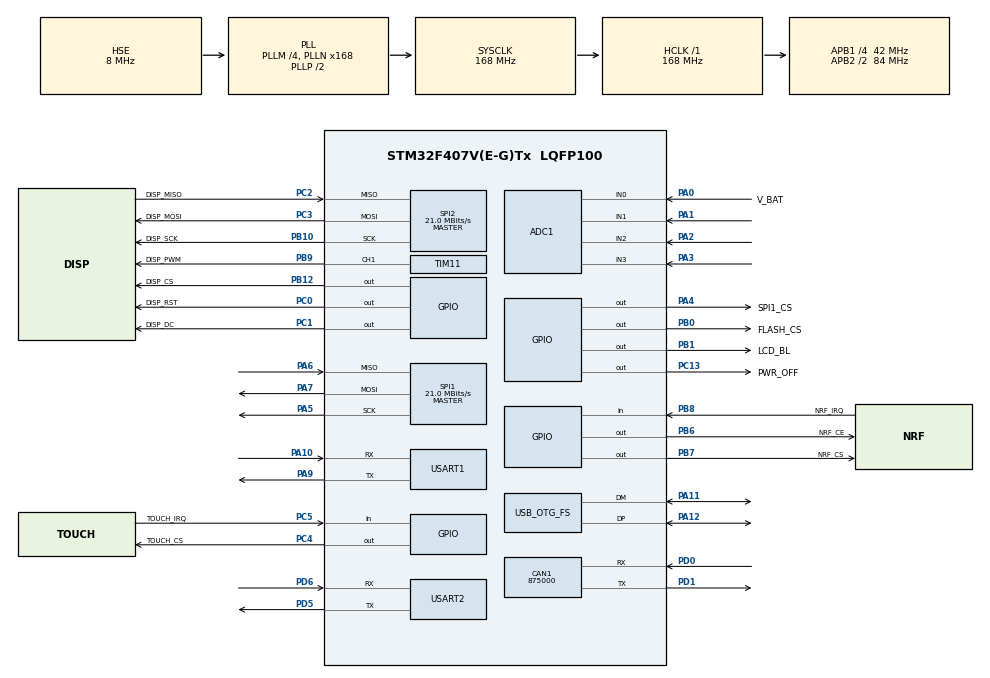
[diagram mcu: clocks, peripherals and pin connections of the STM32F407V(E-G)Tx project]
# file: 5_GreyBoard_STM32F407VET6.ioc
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ADC1.Channel-0\#ChannelRegularConversion=ADC_CHANNEL_0
ADC1.Channel-1\#ChannelRegularConversion=ADC_CHANNEL_1
ADC1.Channel-2\#ChannelRegularConversion=ADC_CHANNEL_2
ADC1.Channel-3\#ChannelRegularConversion=ADC_CHANNEL_3
ADC1.Channel-4\#ChannelRegularConversion=ADC_CHANNEL_TEMPSENSOR
ADC1.Channel-5\#ChannelRegularConversion=ADC_CHANNEL_VREFINT
ADC1.Channel-6\#ChannelRegularConversion=ADC_CHANNEL_VBAT
ADC1.ContinuousConvMode=ENABLE
ADC1.DMAContinuousRequests=ENABLE
ADC1.InjNumberOfConversion=0
ADC1.NbrOfConversion=7
ADC1.NbrOfConversionFlag=1
ADC1.Rank-0\#ChannelRegularConversion=1
ADC1.Rank-1\#ChannelRegularConversion=2
ADC1.Rank-2\#ChannelRegularConversion=3
ADC1.Rank-3\#ChannelRegularConversion=4
ADC1.Rank-4\#ChannelRegularConversion=5
ADC1.Rank-5\#ChannelRegularConversion=6
ADC1.Rank-6\#ChannelRegularConversion=7
ADC1.SamplingTime-0\#ChannelRegularConversion=ADC_SAMPLETIME_28CYCLES
ADC1.SamplingTime-1\#ChannelRegularConversion=ADC_SAMPLETIME_28CYCLES
ADC1.SamplingTime-2\#ChannelRegularConversion=ADC_SAMPLETIME_28CYCLES
ADC1.SamplingTime-3\#ChannelRegularConversion=ADC_SAMPLETIME_28CYCLES
ADC1.SamplingTime-4\#ChannelRegularConversion=ADC_SAMPLETIME_28CYCLES
ADC1.SamplingTime-5\#ChannelRegularConversion=ADC_SAMPLETIME_56CYCLES
ADC1.SamplingTime-6\#ChannelRegularConversion=ADC_SAMPLETIME_28CYCLES
ADC1.ScanConvMode=ENABLE
ADC1.master=1
CAN1.CalculateBaudRate=875000
CAN1.CalculateTimeBit=1142
CAN1.CalculateTimeQuantum=380.95238095238096
Dma.ADC1.0.Direction=DMA_PERIPH_TO_MEMORY
Dma.ADC1.0.FIFOMode=DMA_FIFOMODE_DISABLE
Dma.ADC1.0.Instance=DMA2_Stream0
Dma.ADC1.0.MemDataAlignment=DMA_MDATAALIGN_HALFWORD
Dma.ADC1.0.MemInc=DMA_MINC_ENABLE
Dma.ADC1.0.Mode=DMA_NORMAL
Dma.ADC1.0.PeriphDataAlignment=DMA_PDATAALIGN_HALFWORD
Dma.ADC1.0.PeriphInc=DMA_PINC_DISABLE
Dma.ADC1.0.Priority=DMA_PRIORITY_LOW
Dma.Request0=ADC1
Dma.Request1=SPI2_TX
Dma.SPI2_TX.1.Direction=DMA_MEMORY_TO_PERIPH
Dma.SPI2_TX.1.FIFOMode=DMA_FIFOMODE_DISABLE
Dma.SPI2_TX.1.Instance=DMA1_Stream4
Dma.SPI2_TX.1.MemDataAlignment=DMA_MDATAALIGN_BYTE
Dma.SPI2_TX.1.MemInc=DMA_MINC_ENABLE
Dma.SPI2_TX.1.Mode=DMA_NORMAL
Dma.SPI2_TX.1.PeriphDataAlignment=DMA_PDATAALIGN_BYTE
Dma.SPI2_TX.1.PeriphInc=DMA_PINC_DISABLE
Dma.SPI2_TX.1.Priority=DMA_PRIORITY_LOW
Mcu.Family=STM32F4
Mcu.Name=STM32F407V(E-G)Tx
Mcu.Package=LQFP100
NVIC.ADC_IRQn=true\:4\:0\:true\:false\:true\:true\:true\:true
NVIC.DMA1_Stream4_IRQn=true\:3\:0\:true\:false\:true\:false\:true\:true
NVIC.DMA2_Stream0_IRQn=true\:2\:0\:true\:false\:true\:false\:true\:true
NVIC.PriorityGroup=NVIC_PRIORITYGROUP_4
NVIC.USART1_IRQn=true\:0\:0\:false\:false\:true\:true\:true\:true
PA0-WKUP.GPIO_Label=V_BAT
PA0-WKUP.Signal=ADCx_IN0
PA1.Signal=ADCx_IN1
PA10.Mode=Asynchronous
PA10.Signal=USART1_RX
PA11.Mode=Device_Only
PA11.Signal=USB_OTG_FS_DM
PA12.Mode=Device_Only
PA12.Signal=USB_OTG_FS_DP
PA13.Mode=Trace_Asynchronous_SW
PA13.Signal=SYS_JTMS-SWDIO
PA14.Mode=Trace_Asynchronous_SW
PA14.Signal=SYS_JTCK-SWCLK
PA2.Signal=ADCx_IN2
PA3.Signal=ADCx_IN3
PA4.GPIO_Label=SPI1_CS
PA4.Signal=GPIO_Output
PA5.Mode=Full_Duplex_Master
PA5.Signal=SPI1_SCK
PA6.Mode=Full_Duplex_Master
PA6.Signal=SPI1_MISO
PA7.Mode=Full_Duplex_Master
PA7.Signal=SPI1_MOSI
PA9.Mode=Asynchronous
PA9.Signal=USART1_TX
PB0.GPIO_Label=FLASH_CS
PB0.Signal=GPIO_Output
PB1.GPIO_Label=LCD_BL
PB1.Signal=GPIO_Output
PB10.GPIO_Label=DISP_SCK
PB10.Mode=Full_Duplex_Master
PB10.Signal=SPI2_SCK
PB12.GPIO_Label=DISP_CS
PB12.Signal=GPIO_Output
PB3.Mode=Trace_Asynchronous_SW
PB3.Signal=SYS_JTDO-SWO
PB6.GPIO_Label=NRF_CE
PB6.Signal=GPIO_Output
PB7.GPIO_Label=NRF_CS
PB7.Signal=GPIO_Output
PB8.GPIO_Label=NRF_IRQ
PB8.Signal=GPIO_Input
PB9.GPIO_Label=DISP_PWM
PB9.Signal=S_TIM11_CH1
PC0.GPIO_Label=DISP_RST
PC0.Signal=GPIO_Output
PC1.GPIO_Label=DISP_DC
PC1.Signal=GPIO_Output
PC13-ANTI_TAMP.GPIO_Label=PWR_OFF
PC13-ANTI_TAMP.Signal=GPIO_Output
PC14-OSC32_IN.Mode=LSE-External-Oscillator
PC14-OSC32_IN.Signal=RCC_OSC32_IN
PC15-OSC32_OUT.Mode=LSE-External-Oscillator
PC15-OSC32_OUT.Signal=RCC_OSC32_OUT
PC2.GPIO_Label=DISP_MISO
PC2.Mode=Full_Duplex_Master
PC2.Signal=SPI2_MISO
PC3.GPIO_Label=DISP_MOSI
PC3.Mode=Full_Duplex_Master
PC3.Signal=SPI2_MOSI
PC4.GPIO_Label=TOUCH_CS
PC4.Signal=GPIO_Output
PC5.GPIO_Label=TOUCH_IRQ
PC5.Signal=GPIO_Input
PD0.Mode=CAN_Activate
PD0.Signal=CAN1_RX
PD1.Mode=CAN_Activate
PD1.Signal=CAN1_TX
PD5.Mode=Asynchronous
PD5.Signal=USART2_TX
PD6.Mode=Asynchronous
PD6.Signal=USART2_RX
PH0-OSC_IN.Mode=HSE-External-Oscillator
PH0-OSC_IN.Signal=RCC_OSC_IN
PH1-OSC_OUT.Mode=HSE-External-Oscillator
PH1-OSC_OUT.Signal=RCC_OSC_OUT
ProjectManager.HeapSize=0x200
ProjectManager.StackSize=0x400
ProjectManager.TargetToolchain=STM32CubeIDE
RCC.48MHZClocksFreq_Value=48000000
RCC.AHBFreq_Value=168000000
RCC.APB1CLKDivider=RCC_HCLK_DIV4
RCC.APB1Freq_Value=42000000
RCC.APB1TimFreq_Value=84000000
RCC.APB2CLKDivider=RCC_HCLK_DIV2
RCC.APB2Freq_Value=84000000
RCC.APB2TimFreq_Value=168000000
RCC.CortexFreq_Value=168000000
RCC.HCLKFreq_Value=168000000
RCC.HSE_VALUE=8000000
RCC.HSI_VALUE=16000000
RCC.PLLM=4
RCC.PLLN=168
RCC.PLLQ=7
RCC.RCC_RTC_Clock_Source=RCC_RTCCLKSOURCE_LSE
RCC.RCC_RTC_Clock_SourceVirtual=RCC_RTCCLKSOURCE_LSE
RCC.SYSCLKFreq_VALUE=168000000
RCC.SYSCLKSource=RCC_SYSCLKSOURCE_PLLCLK
RCC.VCOOutputFreq_Value=336000000
SH.ADCx_IN0.0=ADC1_IN0,IN0
SH.ADCx_IN1.0=ADC1_IN1,IN1
SH.ADCx_IN2.0=ADC1_IN2,IN2
SH.ADCx_IN3.0=ADC1_IN3,IN3
SH.S_TIM11_CH1.0=TIM11_CH1,PWM Generation1 CH1
SPI1.BaudRatePrescaler=SPI_BAUDRATEPRESCALER_4
SPI1.CalculateBaudRate=21.0 MBits/s
SPI1.Direction=SPI_DIRECTION_2LINES
SPI1.Mode=SPI_MODE_MASTER
SPI1.VirtualType=VM_MASTER
SPI2.BaudRatePrescaler=SPI_BAUDRATEPRESCALER_2
SPI2.CalculateBaudRate=21.0 MBits/s
SPI2.DataSize=SPI_DATASIZE_8BIT
SPI2.Direction=SPI_DIRECTION_2LINES
SPI2.Mode=SPI_MODE_MASTER
SPI2.VirtualType=VM_MASTER
TIM11.Channel=TIM_CHANNEL_1
TIM11.Period=5000
USART1.VirtualMode=VM_ASYNC
USART2.VirtualMode=VM_ASYNC
USB_OTG_FS.VirtualMode=Device_Only
VP_ADC1_TempSens_Input.Mode=IN-TempSens
VP_ADC1_Vbat_Input.Mode=IN-Vbat
VP_ADC1_Vref_Input.Mode=IN-Vrefint
VP_RTC_VS_RTC_Activate.Mode=RTC_Enabled
VP_TIM11_VS_ClockSourceINT.Mode=Enable_Timer
board=custom

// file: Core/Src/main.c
/* USER CODE BEGIN Header */
/**
  ******************************************************************************
  * @file           : main.c
  * @brief          : Main program body
  ******************************************************************************
  * @attention
  *
  * Copyright (c) 2025 STMicroelectronics.
  * All rights reserved.
  *
  * This software is licensed under terms that can be found in the LICENSE file
  * in the root directory of this software component.
  * If no LICENSE file comes with this software, it is provided AS-IS.
  *
  ******************************************************************************
  */
#define  AVER_PERIOD    30
/* USER CODE END Header */
#include "main.h"

/* USER CODE BEGIN Includes */
#include "ILI9488.h"
#include "bitmaps.h"
#include <stdio.h>
#include <stdlib.h>
#include <string.h>
#include "common.h"
#include "ringbuf.h"
#include "scheduler.h"
/* USER CODE END Includes */

/* USER CODE BEGIN PTD */
typedef union{
	uint16_t array[8];
	struct{
		uint16_t batlvl;
		uint16_t joy;
		uint16_t jox;
		uint16_t AN3;
		uint16_t tmpr;
		uint16_t vref;
		uint16_t vbat;
		uint16_t ANX;
	};
}ADCdat_t;

typedef struct
{
  int batlvl;
  int batlvl_prev;
  int jox;
  int jox_prev;
  int joy;
  int joy_prev;
  int tmpr;
  int tmpr_prev;
  int vref;
  int vref_prev;
}ADCaverdat_t;

typedef struct
{
  uint8_t joyx[128];
  uint8_t joyx_prev[128];
  uint8_t joyy[128];
  uint8_t joyy_prev[128];
  uint8_t Vbat[128];
  uint8_t Vbat_prev[128];
  uint8_t Vpowsup[128];
  uint8_t Vpowsup_prev[128];
  uint8_t Temper[128];
  uint8_t Temper_prev[128];
  uint8_t UART_string[1024];
  uint8_t UART_string_prev[1024];
  uint8_t Seconds[128];
  uint8_t Seconds_prev[128];
}DispDat_t;

/* USER CODE END PTD */

/* USER CODE BEGIN PD */
RINGBUF_t UartRXbuf;
uint8_t rx_buf[1024] = {0};
uint8_t temp_byte;
DispDat_t temp_str = {0};

ADCdat_t ADC_data;
uint8_t temp_byte;
ADCaverdat_t ADC_averdata;

uint32_t summ_counter = 0;
uint32_t adc_complete = 1;
uint32_t adc_summcomplete = 0;

/* USER CODE END PD */

ADC_HandleTypeDef hadc1;
DMA_HandleTypeDef hdma_adc1;

CAN_HandleTypeDef hcan1;

RTC_HandleTypeDef hrtc;

SPI_HandleTypeDef hspi1;
SPI_HandleTypeDef hspi2;
DMA_HandleTypeDef hdma_spi2_tx;

TIM_HandleTypeDef htim11;

UART_HandleTypeDef huart1;
UART_HandleTypeDef huart2;

PCD_HandleTypeDef hpcd_USB_OTG_FS;

void SystemClock_Config(void);
static void MX_GPIO_Init(void);
static void MX_DMA_Init(void);
static void MX_RTC_Init(void);
static void MX_ADC1_Init(void);
static void MX_SPI1_Init(void);
static void MX_SPI2_Init(void);
static void MX_CAN1_Init(void);
static void MX_TIM11_Init(void);
static void MX_USART1_UART_Init(void);
static void MX_USART2_UART_Init(void);
static void MX_USB_OTG_FS_PCD_Init(void);

/* USER CODE BEGIN 0 */
int _write(int file, char *ptr, int len)
{
  (void)file;
  int DataIdx;

  for (DataIdx = 0; DataIdx < len; DataIdx++)
  {
	  ITM_SendChar(*ptr++);
  }
  return len;
}

void UART_handler(void)
{
	static uint32_t temp_tick = 0;
	static uint16_t buf_len = 0;
	static uint16_t buf_len_prev = 0;

	RingBuf_Available(&buf_len, &UartRXbuf);
	if(buf_len)
	{
		if(buf_len_prev != buf_len)
		{
			buf_len_prev = buf_len;
			temp_tick = HAL_GetTick();
		}
		if((HAL_GetTick() - temp_tick) > 5)
		{
			RingBuf_DataRead(temp_str.UART_string, buf_len, &UartRXbuf);
			temp_str.UART_string[buf_len] = '\0';
			HAL_UART_Transmit_IT(&huart1, (uint8_t*)"OK!\n", 5);
		}
	}
}

void ADC_handler(void)
{
	static int Vtemper = 0;
	static int Temperature = 0;
	static int joyVoltX = 0;
	static int joyVoltY = 0;
	static int Vbattery = 0;
	static int Vpower = 0;

	if(adc_summcomplete)
	{
		ADC_averdata.batlvl /= summ_counter;
		ADC_averdata.jox /= summ_counter;
		ADC_averdata.joy /= summ_counter;
		ADC_averdata.tmpr /= summ_counter;
		ADC_averdata.vref /= summ_counter;

		if(ADC_averdata.vref == 0) ADC_averdata.vref = 1;

		joyVoltX = (ADC_averdata.jox * 1210) / ADC_averdata.vref;
		sprintf((char*)temp_str.joyx, "Jx: %d.%02dV", joyVoltX/1000, (joyVoltX%1000)/10);
		joyVoltY = (ADC_averdata.joy * 1210) / ADC_averdata.vref;
		sprintf((char*)temp_str.joyy, "Jy: %d.%02dV", joyVoltY/1000, (joyVoltY%1000)/10);
		Vbattery = (ADC_averdata.batlvl * 1853) / ADC_averdata.vref;
		sprintf((char*)temp_str.Vbat, "Vb: %d.%02dV", Vbattery/1000, (Vbattery%1000)/10);
		Vpower = (4095 * 1210) / ADC_averdata.vref;
		sprintf((char*)temp_str.Vpowsup, "Vp: %d.%02dV", Vpower/1000, (Vpower%1000)/10);
		Vtemper = (ADC_averdata.tmpr * 12100) / ADC_averdata.vref; // x10 mV
		Temperature = 25 + (Vtemper - 7600) / 25;
		sprintf((char*)temp_str.Temper, "T:  %d*C",Temperature);

		ADC_averdata.batlvl = 0;
		ADC_averdata.jox = 0;
		ADC_averdata.joy = 0;
		ADC_averdata.tmpr = 0;
		ADC_averdata.vref = 0;

	    joystick.ox = (uint8_t)clamp(((joyVoltX * 10) / 129), 0, 255);
	    joystick.oy = (uint8_t)clamp(((joyVoltY* 10) / 129), 0, 255);
	    Ubat = (uint8_t)clamp(((Vbattery * 10) / 164), 0, 255);

		adc_summcomplete = 0;
		summ_counter = 0;
	}

	if(adc_complete)
	{
		HAL_ADC_Start_DMA(&hadc1, (uint32_t*)ADC_data.array, 5);
		adc_complete = 0;
	}
}

void displayparams(void)
{
	static char tempstring[10][100];
	static char tempstring_prev[10][100];
	static uint16_t text_color = COLOR_GREEN;

	sprintf(tempstring[0], "jx%03u jy%03u BAT%03u<%d>", joystick.ox, joystick.oy, Ubat, batlvl);
	sprintf(tempstring[1], "PWM%03u", brightPWM);
	if(strncmp(tempstring[0], tempstring_prev[0], 10) || strncmp(tempstring[1], tempstring_prev[1], 10))
	{
		draw_fast_string(125,0, text_color, COLOR_BLACK, "8 bit parameters");
		draw_fast_string(125,15, text_color, COLOR_BLACK, tempstring[0]);
		draw_fast_string(125,30, text_color, COLOR_BLACK, tempstring[1]);
		strncpy(tempstring_prev[0], tempstring[0], 100);
		strncpy(tempstring_prev[1], tempstring[1], 100);
	}

	//if(strncmp((char*)temp_str.joyx, (char*)temp_str.joyx_prev, 10))
	{
		draw_fast_string(0, 0, text_color, COLOR_BLACK, (char*)temp_str.joyx);
		strncpy((char*)temp_str.joyx_prev, (char*)temp_str.joyx, 128);
	}
	//if(strncmp((char*)temp_str.joyy, (char*)temp_str.joyy_prev, 10))
	{
		draw_fast_string(0, 15, text_color, COLOR_BLACK, (char*)temp_str.joyy);
		strncpy((char*)temp_str.joyy_prev, (char*)temp_str.joyy, 128);
	}
	//if(strncmp((char*)temp_str.Vbat, (char*)temp_str.Vbat_prev, 10))
	{
		draw_fast_string(0, 30, text_color, COLOR_BLACK, (char*)temp_str.Vbat);
		strncpy((char*)temp_str.Vbat_prev, (char*)temp_str.Vbat, 128);
	}
	//if(strncmp((char*)temp_str.Vpowsup, (char*)temp_str.Vpowsup_prev, 10))
	{
		draw_fast_string(0, 45, text_color, COLOR_BLACK, (char*)temp_str.Vpowsup);
		strncpy((char*)temp_str.Vpowsup_prev, (char*)temp_str.Vpowsup, 128);
	}
	//if(strncmp((char*)temp_str.Temper, (char*)temp_str.Temper_prev, 10))
	{
		draw_fast_string(0, 60, text_color, COLOR_BLACK, (char*)temp_str.Temper);
		strncpy((char*)temp_str.Temper_prev, (char*)temp_str.Temper, 128);
	}

	sprintf((char*)temp_str.Seconds, "%02lu:%02lu:%02lu", (HAL_GetTick()/1000)/3600, ((HAL_GetTick()/1000)%3600)/60, (HAL_GetTick()/1000)%60);
	//if(strncmp((char*)temp_str.Seconds, (char*)temp_str.Seconds_prev, 10))
	{
		draw_fast_string(0, 75, text_color, COLOR_BLACK, (char*)temp_str.Seconds);
		strncpy((char*)temp_str.Seconds_prev, (char*)temp_str.Seconds, 128);
	}
	//if(strncmp((char*)temp_str.UART_string, (char*)temp_str.UART_string_prev, 10))
	{
		draw_fast_string(0, 90, text_color, COLOR_BLACK, (char*)temp_str.UART_string);
		strncpy((char*)temp_str.UART_string_prev, (char*)temp_str.UART_string, 1024);
	}
}

/* USER CODE END 0 */

int main(void)
{

  /* MCU Configuration--------------------------------------------------------*/

  /* Reset of all peripherals, Initializes the Flash interface and the Systick. */
  HAL_Init();

  /* Configure the system clock */
  SystemClock_Config();

  /* Initialize all configured peripherals */
  MX_GPIO_Init();
  MX_DMA_Init();
  MX_RTC_Init();
  MX_ADC1_Init();
  MX_SPI1_Init();
  MX_SPI2_Init();
  MX_CAN1_Init();
  MX_TIM11_Init();
  MX_USART1_UART_Init();
  MX_USART2_UART_Init();
  MX_USB_OTG_FS_PCD_Init();
  /* USER CODE BEGIN 2 */

  __HAL_TIM_SET_COMPARE(&htim11, TIM_CHANNEL_1, 5000);
  HAL_TIM_PWM_Start(&htim11, TIM_CHANNEL_1);

  lcd_init();
  fill_rectangle(0, 0, WIDTH, HEIGHT, COLOR_BLACK);
  RingBuf_Init(rx_buf, 1024, 1, &UartRXbuf);
  HAL_Delay(250);
  commoninit();

  /* USER CODE END 2 */

  /* Infinite loop */
  /* USER CODE BEGIN WHILE */

  //-------------scheduler functions-------------

  SchedAddEvent(displayparams, 100);

  //---------------------------------------------

  HAL_UART_Receive_IT(&huart1, &temp_byte, 1);
  HAL_ADC_Start_DMA(&hadc1, (uint32_t*)ADC_data.array, 7);

  while (1)
  {
	  //check_btn_jstk();
	  //batcheck();
	  UART_handler();
      SchedEventProcess();
	  ADC_handler();
	  //pressbutton(&B1, decbright);
	  //pressbutton(&B2, incbright);
	  //pressbutton(&B3, ShutDown);

    /* USER CODE END WHILE */

  }
}

void SystemClock_Config(void)
{
  RCC_OscInitTypeDef RCC_OscInitStruct = {0};
  RCC_ClkInitTypeDef RCC_ClkInitStruct = {0};

  /** Configure the main internal regulator output voltage
  */
  __HAL_RCC_PWR_CLK_ENABLE();
  __HAL_PWR_VOLTAGESCALING_CONFIG(PWR_REGULATOR_VOLTAGE_SCALE1);

  /** Initializes the RCC Oscillators according to the specified parameters
  * in the RCC_OscInitTypeDef structure.
  */
  RCC_OscInitStruct.OscillatorType = RCC_OSCILLATORTYPE_HSE|RCC_OSCILLATORTYPE_LSE;
  RCC_OscInitStruct.HSEState = RCC_HSE_ON;
  RCC_OscInitStruct.LSEState = RCC_LSE_ON;
  RCC_OscInitStruct.PLL.PLLState = RCC_PLL_ON;
  RCC_OscInitStruct.PLL.PLLSource = RCC_PLLSOURCE_HSE;
  RCC_OscInitStruct.PLL.PLLM = 4;
  RCC_OscInitStruct.PLL.PLLN = 168;
  RCC_OscInitStruct.PLL.PLLP = RCC_PLLP_DIV2;
  RCC_OscInitStruct.PLL.PLLQ = 7;
  if (HAL_RCC_OscConfig(&RCC_OscInitStruct) != HAL_OK)
  {
    Error_Handler();
  }

  /** Initializes the CPU, AHB and APB buses clocks
  */
  RCC_ClkInitStruct.ClockType = RCC_CLOCKTYPE_HCLK|RCC_CLOCKTYPE_SYSCLK
                              |RCC_CLOCKTYPE_PCLK1|RCC_CLOCKTYPE_PCLK2;
  RCC_ClkInitStruct.SYSCLKSource = RCC_SYSCLKSOURCE_PLLCLK;
  RCC_ClkInitStruct.AHBCLKDivider = RCC_SYSCLK_DIV1;
  RCC_ClkInitStruct.APB1CLKDivider = RCC_HCLK_DIV4;
  RCC_ClkInitStruct.APB2CLKDivider = RCC_HCLK_DIV2;

  if (HAL_RCC_ClockConfig(&RCC_ClkInitStruct, FLASH_LATENCY_5) != HAL_OK)
  {
    Error_Handler();
  }
}

static void MX_ADC1_Init(void)
{

  ADC_ChannelConfTypeDef sConfig = {0};

  /** Configure the global features of the ADC (Clock, Resolution, Data Alignment and number of conversion)
  */
  hadc1.Instance = ADC1;
  hadc1.Init.ClockPrescaler = ADC_CLOCK_SYNC_PCLK_DIV4;
  hadc1.Init.Resolution = ADC_RESOLUTION_12B;
  hadc1.Init.ScanConvMode = ENABLE;
  hadc1.Init.ContinuousConvMode = ENABLE;
  hadc1.Init.DiscontinuousConvMode = DISABLE;
  hadc1.Init.ExternalTrigConvEdge = ADC_EXTERNALTRIGCONVEDGE_NONE;
  hadc1.Init.ExternalTrigConv = ADC_SOFTWARE_START;
  hadc1.Init.DataAlign = ADC_DATAALIGN_RIGHT;
  hadc1.Init.NbrOfConversion = 7;
  hadc1.Init.DMAContinuousRequests = ENABLE;
  hadc1.Init.EOCSelection = ADC_EOC_SINGLE_CONV;
  if (HAL_ADC_Init(&hadc1) != HAL_OK)
  {
    Error_Handler();
  }

  /** Configure for the selected ADC regular channel its corresponding rank in the sequencer and its sample time.
  */
  sConfig.Channel = ADC_CHANNEL_0;
  sConfig.Rank = 1;
  sConfig.SamplingTime = ADC_SAMPLETIME_28CYCLES;
  if (HAL_ADC_ConfigChannel(&hadc1, &sConfig) != HAL_OK)
  {
    Error_Handler();
  }

  /** Configure for the selected ADC regular channel its corresponding rank in the sequencer and its sample time.
  */
  sConfig.Channel = ADC_CHANNEL_1;
  sConfig.Rank = 2;
  if (HAL_ADC_ConfigChannel(&hadc1, &sConfig) != HAL_OK)
  {
    Error_Handler();
  }

  /** Configure for the selected ADC regular channel its corresponding rank in the sequencer and its sample time.
  */
  sConfig.Channel = ADC_CHANNEL_2;
  sConfig.Rank = 3;
  if (HAL_ADC_ConfigChannel(&hadc1, &sConfig) != HAL_OK)
  {
    Error_Handler();
  }

  /** Configure for the selected ADC regular channel its corresponding rank in the sequencer and its sample time.
  */
  sConfig.Channel = ADC_CHANNEL_3;
  sConfig.Rank = 4;
  if (HAL_ADC_ConfigChannel(&hadc1, &sConfig) != HAL_OK)
  {
    Error_Handler();
  }

  /** Configure for the selected ADC regular channel its corresponding rank in the sequencer and its sample time.
  */
  sConfig.Channel = ADC_CHANNEL_TEMPSENSOR;
  sConfig.Rank = 5;
  if (HAL_ADC_ConfigChannel(&hadc1, &sConfig) != HAL_OK)
  {
    Error_Handler();
  }

  /** Configure for the selected ADC regular channel its corresponding rank in the sequencer and its sample time.
  */
  sConfig.Channel = ADC_CHANNEL_VREFINT;
  sConfig.Rank = 6;
  sConfig.SamplingTime = ADC_SAMPLETIME_56CYCLES;
  if (HAL_ADC_ConfigChannel(&hadc1, &sConfig) != HAL_OK)
  {
    Error_Handler();
  }

  /** Configure for the selected ADC regular channel its corresponding rank in the sequencer and its sample time.
  */
  sConfig.Channel = ADC_CHANNEL_VBAT;
  sConfig.Rank = 7;
  sConfig.SamplingTime = ADC_SAMPLETIME_28CYCLES;
  if (HAL_ADC_ConfigChannel(&hadc1, &sConfig) != HAL_OK)
  {
    Error_Handler();
  }

}

static void MX_CAN1_Init(void)
{

  hcan1.Instance = CAN1;
  hcan1.Init.Prescaler = 16;
  hcan1.Init.Mode = CAN_MODE_NORMAL;
  hcan1.Init.SyncJumpWidth = CAN_SJW_1TQ;
  hcan1.Init.TimeSeg1 = CAN_BS1_1TQ;
  hcan1.Init.TimeSeg2 = CAN_BS2_1TQ;
  hcan1.Init.TimeTriggeredMode = DISABLE;
  hcan1.Init.AutoBusOff = DISABLE;
  hcan1.Init.AutoWakeUp = DISABLE;
  hcan1.Init.AutoRetransmission = DISABLE;
  hcan1.Init.ReceiveFifoLocked = DISABLE;
  hcan1.Init.TransmitFifoPriority = DISABLE;
  if (HAL_CAN_Init(&hcan1) != HAL_OK)
  {
    Error_Handler();
  }

}

static void MX_RTC_Init(void)
{

  /** Initialize RTC Only
  */
  hrtc.Instance = RTC;
  hrtc.Init.HourFormat = RTC_HOURFORMAT_24;
  hrtc.Init.AsynchPrediv = 127;
  hrtc.Init.SynchPrediv = 255;
  hrtc.Init.OutPut = RTC_OUTPUT_DISABLE;
  hrtc.Init.OutPutPolarity = RTC_OUTPUT_POLARITY_HIGH;
  hrtc.Init.OutPutType = RTC_OUTPUT_TYPE_OPENDRAIN;
  if (HAL_RTC_Init(&hrtc) != HAL_OK)
  {
    Error_Handler();
  }

}

static void MX_SPI1_Init(void)
{

  /* SPI1 parameter configuration*/
  hspi1.Instance = SPI1;
  hspi1.Init.Mode = SPI_MODE_MASTER;
  hspi1.Init.Direction = SPI_DIRECTION_2LINES;
  hspi1.Init.DataSize = SPI_DATASIZE_8BIT;
  hspi1.Init.CLKPolarity = SPI_POLARITY_LOW;
  hspi1.Init.CLKPhase = SPI_PHASE_1EDGE;
  hspi1.Init.NSS = SPI_NSS_SOFT;
  hspi1.Init.BaudRatePrescaler = SPI_BAUDRATEPRESCALER_4;
  hspi1.Init.FirstBit = SPI_FIRSTBIT_MSB;
  hspi1.Init.TIMode = SPI_TIMODE_DISABLE;
  hspi1.Init.CRCCalculation = SPI_CRCCALCULATION_DISABLE;
  hspi1.Init.CRCPolynomial = 10;
  if (HAL_SPI_Init(&hspi1) != HAL_OK)
  {
    Error_Handler();
  }

}

static void MX_SPI2_Init(void)
{

  /* SPI2 parameter configuration*/
  hspi2.Instance = SPI2;
  hspi2.Init.Mode = SPI_MODE_MASTER;
  hspi2.Init.Direction = SPI_DIRECTION_2LINES;
  hspi2.Init.DataSize = SPI_DATASIZE_8BIT;
  hspi2.Init.CLKPolarity = SPI_POLARITY_LOW;
  hspi2.Init.CLKPhase = SPI_PHASE_1EDGE;
  hspi2.Init.NSS = SPI_NSS_SOFT;
  hspi2.Init.BaudRatePrescaler = SPI_BAUDRATEPRESCALER_2;
  hspi2.Init.FirstBit = SPI_FIRSTBIT_MSB;
  hspi2.Init.TIMode = SPI_TIMODE_DISABLE;
  hspi2.Init.CRCCalculation = SPI_CRCCALCULATION_DISABLE;
  hspi2.Init.CRCPolynomial = 10;
  if (HAL_SPI_Init(&hspi2) != HAL_OK)
  {
    Error_Handler();
  }

}

static void MX_TIM11_Init(void)
{

  TIM_OC_InitTypeDef sConfigOC = {0};

  htim11.Instance = TIM11;
  htim11.Init.Prescaler = 0;
  htim11.Init.CounterMode = TIM_COUNTERMODE_UP;
  htim11.Init.Period = 5000;
  htim11.Init.ClockDivision = TIM_CLOCKDIVISION_DIV1;
  htim11.Init.AutoReloadPreload = TIM_AUTORELOAD_PRELOAD_DISABLE;
  if (HAL_TIM_Base_Init(&htim11) != HAL_OK)
  {
    Error_Handler();
  }
  if (HAL_TIM_PWM_Init(&htim11) != HAL_OK)
  {
    Error_Handler();
  }
  sConfigOC.OCMode = TIM_OCMODE_PWM1;
  sConfigOC.Pulse = 0;
  sConfigOC.OCPolarity = TIM_OCPOLARITY_HIGH;
  sConfigOC.OCFastMode = TIM_OCFAST_DISABLE;
  if (HAL_TIM_PWM_ConfigChannel(&htim11, &sConfigOC, TIM_CHANNEL_1) != HAL_OK)
  {
    Error_Handler();
  }
  HAL_TIM_MspPostInit(&htim11);

}

static void MX_USART1_UART_Init(void)
{

  huart1.Instance = USART1;
  huart1.Init.BaudRate = 115200;
  huart1.Init.WordLength = UART_WORDLENGTH_8B;
  huart1.Init.StopBits = UART_STOPBITS_1;
  huart1.Init.Parity = UART_PARITY_NONE;
  huart1.Init.Mode = UART_MODE_TX_RX;
  huart1.Init.HwFlowCtl = UART_HWCONTROL_NONE;
  huart1.Init.OverSampling = UART_OVERSAMPLING_16;
  if (HAL_UART_Init(&huart1) != HAL_OK)
  {
    Error_Handler();
  }

}

static void MX_USART2_UART_Init(void)
{

  huart2.Instance = USART2;
  huart2.Init.BaudRate = 115200;
  huart2.Init.WordLength = UART_WORDLENGTH_8B;
  huart2.Init.StopBits = UART_STOPBITS_1;
  huart2.Init.Parity = UART_PARITY_NONE;
  huart2.Init.Mode = UART_MODE_TX_RX;
  huart2.Init.HwFlowCtl = UART_HWCONTROL_NONE;
  huart2.Init.OverSampling = UART_OVERSAMPLING_16;
  if (HAL_UART_Init(&huart2) != HAL_OK)
  {
    Error_Handler();
  }

}

static void MX_USB_OTG_FS_PCD_Init(void)
{

  hpcd_USB_OTG_FS.Instance = USB_OTG_FS;
  hpcd_USB_OTG_FS.Init.dev_endpoints = 4;
  hpcd_USB_OTG_FS.Init.speed = PCD_SPEED_FULL;
  hpcd_USB_OTG_FS.Init.dma_enable = DISABLE;
  hpcd_USB_OTG_FS.Init.phy_itface = PCD_PHY_EMBEDDED;
  hpcd_USB_OTG_FS.Init.Sof_enable = DISABLE;
  hpcd_USB_OTG_FS.Init.low_power_enable = DISABLE;
  hpcd_USB_OTG_FS.Init.lpm_enable = DISABLE;
  hpcd_USB_OTG_FS.Init.vbus_sensing_enable = DISABLE;
  hpcd_USB_OTG_FS.Init.use_dedicated_ep1 = DISABLE;
  if (HAL_PCD_Init(&hpcd_USB_OTG_FS) != HAL_OK)
  {
    Error_Handler();
  }

}

static void MX_DMA_Init(void)
{

  /* DMA controller clock enable */
  __HAL_RCC_DMA2_CLK_ENABLE();
  __HAL_RCC_DMA1_CLK_ENABLE();

  /* DMA interrupt init */
  /* DMA1_Stream4_IRQn interrupt configuration */
  HAL_NVIC_SetPriority(DMA1_Stream4_IRQn, 3, 0);
  HAL_NVIC_EnableIRQ(DMA1_Stream4_IRQn);
  /* DMA2_Stream0_IRQn interrupt configuration */
  HAL_NVIC_SetPriority(DMA2_Stream0_IRQn, 2, 0);
  HAL_NVIC_EnableIRQ(DMA2_Stream0_IRQn);

}

static void MX_GPIO_Init(void)
{
  GPIO_InitTypeDef GPIO_InitStruct = {0};

  /* GPIO Ports Clock Enable */
  __HAL_RCC_GPIOC_CLK_ENABLE();
  __HAL_RCC_GPIOH_CLK_ENABLE();
  __HAL_RCC_GPIOA_CLK_ENABLE();
  __HAL_RCC_GPIOB_CLK_ENABLE();
  __HAL_RCC_GPIOD_CLK_ENABLE();

  /*Configure GPIO pin Output Level */
  HAL_GPIO_WritePin(GPIOC, PWR_OFF_Pin|DISP_RST_Pin|DISP_DC_Pin|TOUCH_CS_Pin, GPIO_PIN_RESET);

  /*Configure GPIO pin Output Level */
  HAL_GPIO_WritePin(SPI1_CS_GPIO_Port, SPI1_CS_Pin, GPIO_PIN_RESET);

  /*Configure GPIO pin Output Level */
  HAL_GPIO_WritePin(GPIOB, FLASH_CS_Pin|LCD_BL_Pin|DISP_CS_Pin|NRF_CE_Pin
                          |NRF_CS_Pin, GPIO_PIN_RESET);

  /*Configure GPIO pins : PWR_OFF_Pin DISP_RST_Pin DISP_DC_Pin TOUCH_CS_Pin */
  GPIO_InitStruct.Pin = PWR_OFF_Pin|DISP_RST_Pin|DISP_DC_Pin|TOUCH_CS_Pin;
  GPIO_InitStruct.Mode = GPIO_MODE_OUTPUT_PP;
  GPIO_InitStruct.Pull = GPIO_NOPULL;
  GPIO_InitStruct.Speed = GPIO_SPEED_FREQ_LOW;
  HAL_GPIO_Init(GPIOC, &GPIO_InitStruct);

  /*Configure GPIO pin : SPI1_CS_Pin */
  GPIO_InitStruct.Pin = SPI1_CS_Pin;
  GPIO_InitStruct.Mode = GPIO_MODE_OUTPUT_PP;
  GPIO_InitStruct.Pull = GPIO_NOPULL;
  GPIO_InitStruct.Speed = GPIO_SPEED_FREQ_LOW;
  HAL_GPIO_Init(SPI1_CS_GPIO_Port, &GPIO_InitStruct);

  /*Configure GPIO pin : TOUCH_IRQ_Pin */
  GPIO_InitStruct.Pin = TOUCH_IRQ_Pin;
  GPIO_InitStruct.Mode = GPIO_MODE_INPUT;
  GPIO_InitStruct.Pull = GPIO_NOPULL;
  HAL_GPIO_Init(TOUCH_IRQ_GPIO_Port, &GPIO_InitStruct);

  /*Configure GPIO pins : FLASH_CS_Pin LCD_BL_Pin DISP_CS_Pin NRF_CE_Pin
                           NRF_CS_Pin */
  GPIO_InitStruct.Pin = FLASH_CS_Pin|LCD_BL_Pin|DISP_CS_Pin|NRF_CE_Pin
                          |NRF_CS_Pin;
  GPIO_InitStruct.Mode = GPIO_MODE_OUTPUT_PP;
  GPIO_InitStruct.Pull = GPIO_NOPULL;
  GPIO_InitStruct.Speed = GPIO_SPEED_FREQ_LOW;
  HAL_GPIO_Init(GPIOB, &GPIO_InitStruct);

  /*Configure GPIO pin : NRF_IRQ_Pin */
  GPIO_InitStruct.Pin = NRF_IRQ_Pin;
  GPIO_InitStruct.Mode = GPIO_MODE_INPUT;
  GPIO_InitStruct.Pull = GPIO_NOPULL;
  HAL_GPIO_Init(NRF_IRQ_GPIO_Port, &GPIO_InitStruct);

}

/* USER CODE BEGIN 4 */
void HAL_IncTick(void)
{
  uwTick += uwTickFreq;
  SchedPeriodIncr();
}

void HAL_UART_RxCpltCallback(UART_HandleTypeDef *huart)
{
  if(huart == &huart1)
  {
    RingBuf_BytePut(temp_byte, &UartRXbuf);
    HAL_UART_Receive_IT (&huart1, &temp_byte, 1);
  }
}

void HAL_UART_TxCpltCallback(UART_HandleTypeDef *huart)
{
  if(huart == &huart1)
  {
  }
}

void HAL_ADC_ConvCpltCallback(ADC_HandleTypeDef* hadc)
{
  if(hadc->Instance == ADC1)
  {
    if(summ_counter < AVER_PERIOD)
    {
      ADC_averdata.batlvl += (uint32_t) ADC_data.batlvl;
      ADC_averdata.jox += (uint32_t) ADC_data.jox;
      ADC_averdata.joy += (uint32_t) ADC_data.joy;
      ADC_averdata.tmpr += (uint32_t) ADC_data.tmpr;
      ADC_averdata.vref += (uint32_t) ADC_data.vref;
      summ_counter++;
    }
    else
    {
      adc_summcomplete = 1;
    }
    adc_complete = 1;
  }
}
/* USER CODE END 4 */

void Error_Handler(void)
{
  __disable_irq();
  while (1)
  {
  }
}
